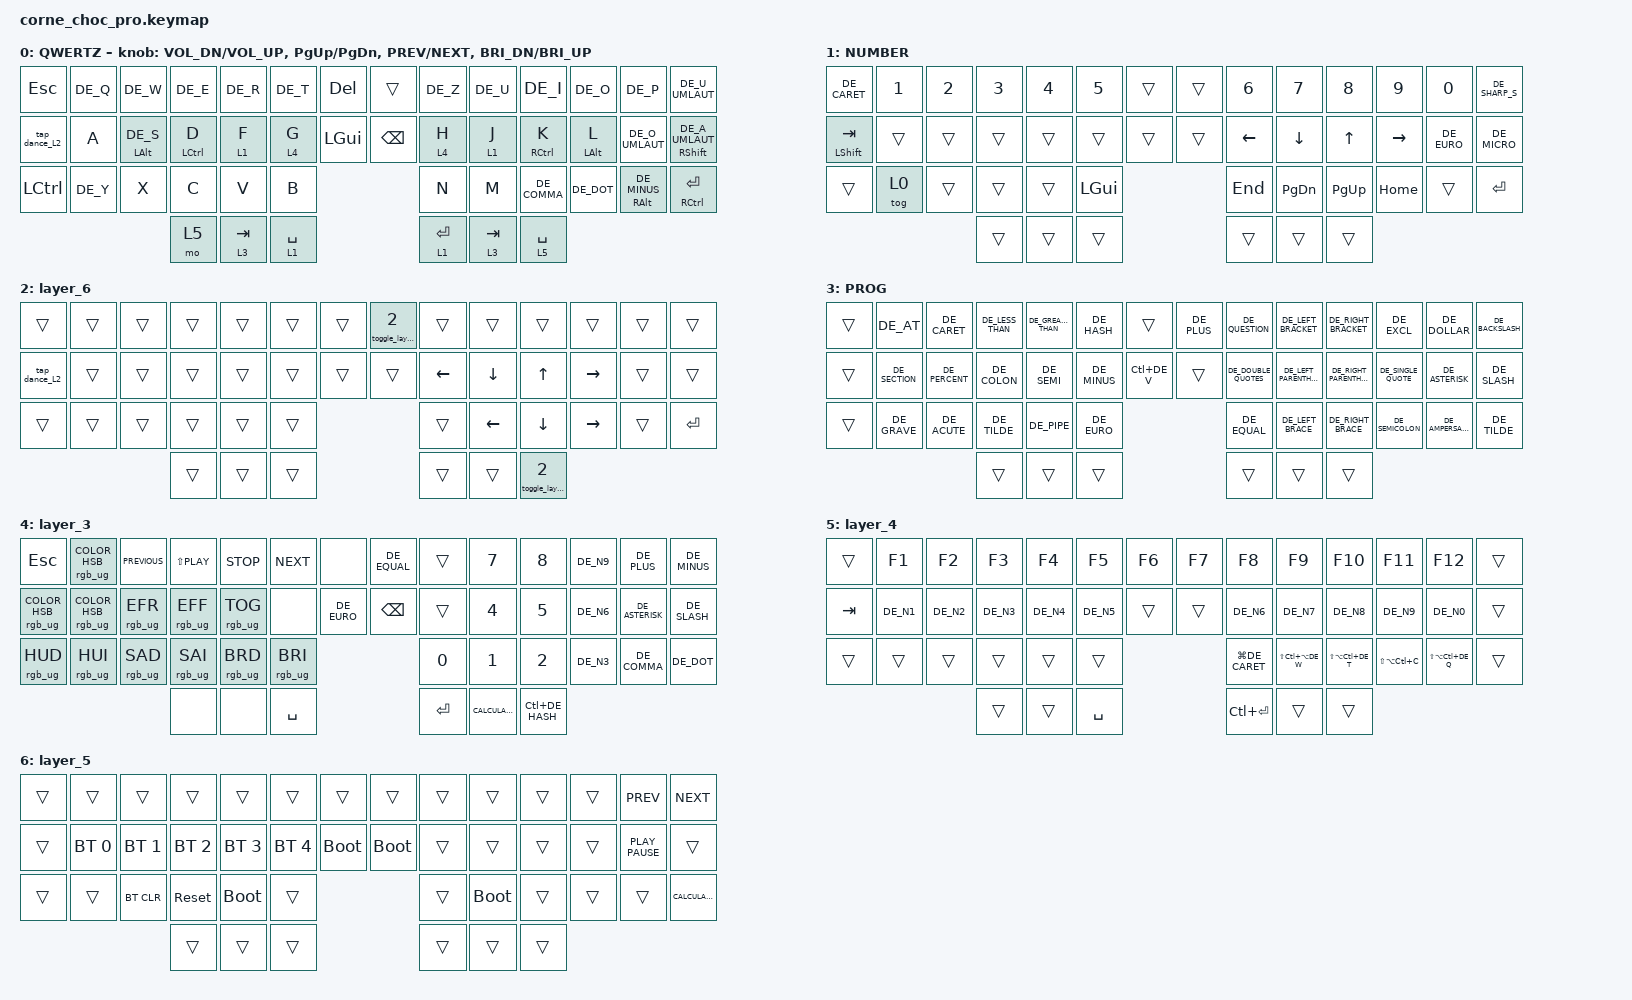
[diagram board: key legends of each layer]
/*
 * Copyright (c) 2020 The ZMK Contributors
 *
 * SPDX-License-Identifier: MIT
 */

#include "keys_de.h"
#include <behaviors.dtsi>
#include <dt-bindings/zmk/bt.h>
#include <dt-bindings/zmk/keys.h>
#include <dt-bindings/zmk/rgb.h>

/ {
    chosen { zmk,physical-layout = &default_layout; };
};

/ {
    behaviors {
        HRL: HRL {
            compatible = "zmk,behavior-hold-tap";
            label = "HRL";
            bindings = <&kp>, <&kp>;

            #binding-cells = <2>;
            tapping-term-ms = <170>;
            quick-tap-ms = <150>;
            flavor = "tap-preferred";
            hold-trigger-on-release;
        };

        HRR: HRR {
            compatible = "zmk,behavior-hold-tap";
            label = "HRR";
            bindings = <&kp>, <&kp>;

            #binding-cells = <2>;
            tapping-term-ms = <170>;
            quick-tap-ms = <150>;
            flavor = "tap-preferred";
            hold-trigger-on-release;
        };

        layerSwTap: layerSwTap {
            compatible = "zmk,behavior-hold-tap";
            label = "LAYERSWTAP";
            bindings = <&mo>, <&kp>;

            #binding-cells = <2>;
            tapping-term-ms = <170>;
            flavor = "balanced";
            quick-tap-ms = <150>;
            hold-trigger-on-release;
        };

        HRR_new: HRR_new {
            compatible = "zmk,behavior-hold-tap";
            label = "HRR_NEW";
            bindings = <&kp>, <&kp>;

            #binding-cells = <2>;
            tapping-term-ms = <170>;
            quick-tap-ms = <150>;
            flavor = "hold-preferred";
            hold-trigger-on-release;
        };

        layerSwTap_old: layerSwTap_old {
            compatible = "zmk,behavior-hold-tap";
            label = "LAYERSWTAP_OLD";
            bindings = <&mo>, <&kp>;

            #binding-cells = <2>;
            tapping-term-ms = <210>;
            flavor = "tap-preferred";
            quick-tap-ms = <175>;
            hold-trigger-on-release;
        };

        toggle_layer_test: toggle_layer_test {
            compatible = "zmk,behavior-toggle-layer";
            label = "TOGGLE_LAYER_TEST";
            #binding-cells = <1>;
        };

        tap_dance_L2: tap_dance_L2 {
            compatible = "zmk,behavior-tap-dance";
            label = "TAP_DANCE_L2";
            #binding-cells = <0>;
            bindings = <&kp LEFT_SHIFT>, <&toggle_layer_test 2>;

            tapping-term-ms = <200>;
        };
    };

    combos {
        compatible = "zmk,combos";

        layer5_left {
            bindings = <&mo 6>;
            key-positions = <40 41 42>;
        };

        layer5_right {
            bindings = <&mo 6>;
            key-positions = <44 45 43>;
        };

        layer6_left {
            bindings = <&mo 2>;
            key-positions = <40 41>;
        };

        layer6_right {
            bindings = <&mo 2>;
            key-positions = <44 45>;
        };
    };

    keymap {
        compatible = "zmk,keymap";

        default_layer {
            display-name = "QWERTZ";

            // --------------------------------------------------------------------------------
            // |  TAB |  Q  |  W  |  E  |  R  |  T  |  MUTE |  PP   |  Y  |  U   |  I  |  O  |  P  | BSPC |
            // | CTRL |  A  |  S  |  D  |  F  |  G  |  LALT |  RALT |  H  |  J   |  K  |  L  |  ;  |  '   |
            // | SHFT |  Z  |  X  |  C  |  V  |  B  |               |  N  |  M   |  ,  |  .  |  /  | ESC  |
            //                    | GUI | LWR | SPC |               | ENT | RSE  | ALT |

            bindings = <
&kp ESCAPE        &kp DE_Q  &kp DE_W        &kp DE_E      &kp DE_R           &kp DE_T             &kp DELETE  &trans         &kp DE_Z              &kp DE_U           &kp DE_I             &kp DE_O         &kp DE_P                 &kp DE_U_UMLAUT
&tap_dance_L2     &kp A     &HRL LALT DE_S  &HRL LCTRL D  &lt 1 F            &lt 4 G              &kp LGUI    &kp BACKSPACE  &lt 4 H               &lt 1 J            &HRR RCTRL K         &HRR LEFT_ALT L  &kp DE_O_UMLAUT          &HRR_new RIGHT_SHIFT DE_A_UMLAUT
&kp LEFT_CONTROL  &kp DE_Y  &kp X           &kp C         &kp V              &kp B                                           &kp N                 &kp M              &kp DE_COMMA         &kp DE_DOT       &HRR RIGHT_ALT DE_MINUS  &HRR RCTRL RETURN
                                            &mo 5         &layerSwTap 3 TAB  &layerSwTap 1 SPACE                             &layerSwTap 1 RETURN  &layerSwTap 3 TAB  &layerSwTap 5 SPACE
            >;

            sensor-bindings = <&inc_dec_kp C_VOL_DN C_VOL_UP &inc_dec_kp PG_UP PG_DN &inc_dec_kp C_PREV C_NEXT &inc_dec_kp C_BRI_DN C_BRI_UP>;
        };

        lower_layer {
            display-name = "NUMBER";

            // -----------------------------------------------------------------------------------------
            // |  TAB |  1  |  2  |  3  |  4  |  5    |  LCTRL | RCTRL |  6  |  7  |  8  |  9  |  0  | BSPC |
            // | CTRL | BT1 | BT2 | BT3 | BT4 | BT5   |  LALT  | RALT  | LFT | DWN |  UP | RGT |  €  |      |
            // | SHFT | BTCR| RGB | RST | BOOT| Unlock|        |       |     |     |     |     |     |   |  |
            //                    | GUI |     | SPC   |        | ENT   |     | ALT |

            bindings = <
&kp DE_CARET        &kp N1  &kp N2  &kp N3  &kp N4  &kp N5        &trans  &trans  &kp N6    &kp N7         &kp N8     &kp N9     &kp N0       &kp DE_SHARP_S
&mt LEFT_SHIFT TAB  &trans  &trans  &trans  &trans  &trans        &trans  &trans  &kp LEFT  &kp DOWN       &kp UP     &kp RIGHT  &kp DE_EURO  &kp DE_MICRO
&trans              &tog 0  &trans  &trans  &trans  &kp LEFT_GUI                  &kp END   &kp PAGE_DOWN  &kp PG_UP  &kp HOME   &trans       &kp RET
                                    &trans  &trans  &trans                        &trans    &trans         &trans
            >;
        };

        layer_6 {
            bindings = <
&trans         &trans  &trans  &trans  &trans  &trans  &trans  &toggle_layer_test 2  &trans          &trans          &trans                &trans           &trans  &trans
&tap_dance_L2  &trans  &trans  &trans  &trans  &trans  &trans  &trans                &kp LEFT_ARROW  &kp DOWN_ARROW  &kp UP                &kp RIGHT        &trans  &trans
&trans         &trans  &trans  &trans  &trans  &trans                                &trans          &kp LEFT_ARROW  &kp DOWN_ARROW        &kp RIGHT_ARROW  &trans  &kp ENTER
                               &trans  &trans  &trans                                &trans          &trans          &toggle_layer_test 2
            >;
        };

        programming {
            display-name = "PROG";
            bindings = <
&trans  &kp DE_AT       &kp DE_CARET    &kp DE_LESS_THAN  &kp DE_GREATER_THAN  &kp DE_HASH   &trans        &kp DE_PLUS  &kp DE_QUESTION       &kp DE_LEFT_BRACKET      &kp DE_RIGHT_BRACKET      &kp DE_EXCL          &kp DE_DOLLAR     &kp DE_BACKSLASH
&trans  &kp DE_SECTION  &kp DE_PERCENT  &kp DE_COLON      &kp DE_SEMI          &kp DE_MINUS  &kp LC(DE_V)  &trans       &kp DE_DOUBLE_QUOTES  &kp DE_LEFT_PARENTHESIS  &kp DE_RIGHT_PARENTHESIS  &kp DE_SINGLE_QUOTE  &kp DE_ASTERISK   &kp DE_SLASH
&trans  &kp DE_GRAVE    &kp DE_ACUTE    &kp DE_TILDE      &kp DE_PIPE          &kp DE_EURO                              &kp DE_EQUAL          &kp DE_LEFT_BRACE        &kp DE_RIGHT_BRACE        &kp DE_SEMICOLON     &kp DE_AMPERSAND  &kp DE_TILDE
                                        &trans            &trans               &trans                                   &trans                &trans                   &trans
            >;

            label = "prog";
        };

        layer_3 {
            bindings = <
&kp ESCAPE                       &rgb_ug RGB_COLOR_HSB(291,92,44)   &kp K_PREVIOUS   &kp LS(C_PLAY)   &kp K_STOP       &kp K_NEXT       &none        &kp DE_EQUAL   &trans        &kp NUMBER_7      &kp NUMBER_8     &kp DE_N9  &kp DE_PLUS      &kp DE_MINUS
&rgb_ug RGB_COLOR_HSB(0,100,46)  &rgb_ug RGB_COLOR_HSB(124,100,50)  &rgb_ug RGB_EFR  &rgb_ug RGB_EFF  &rgb_ug RGB_TOG  &none            &kp DE_EURO  &kp BACKSPACE  &trans        &kp NUMBER_4      &kp NUMBER_5     &kp DE_N6  &kp DE_ASTERISK  &kp DE_SLASH
&rgb_ug RGB_HUD                  &rgb_ug RGB_HUI                    &rgb_ug RGB_SAD  &rgb_ug RGB_SAI  &rgb_ug RGB_BRD  &rgb_ug RGB_BRI                              &kp NUMBER_0  &kp NUMBER_1      &kp NUMBER_2     &kp DE_N3  &kp DE_COMMA     &kp DE_DOT
                                                                                     &none            &none            &kp SPACE                                    &kp RET       &kp K_CALCULATOR  &kp LC(DE_HASH)
            >;
        };

        layer_4 {
            bindings = <
&trans   &kp F1     &kp F2     &kp F3     &kp F4     &kp F5     &kp F6  &kp F7  &kp F8            &kp F9                &kp F10               &kp F11            &kp F12               &trans
&kp TAB  &kp DE_N1  &kp DE_N2  &kp DE_N3  &kp DE_N4  &kp DE_N5  &trans  &trans  &kp DE_N6         &kp DE_N7             &kp DE_N8             &kp DE_N9          &kp DE_N0             &trans
&trans   &trans     &trans     &trans     &trans     &trans                     &kp LG(DE_CARET)  &kp LS(LC(LA(DE_W)))  &kp LS(LA(LC(DE_T)))  &kp LS(LA(LC(C)))  &kp LS(LA(LC(DE_Q)))  &trans
                               &trans     &trans     &kp SPACE                  &kp LC(ENTER)     &trans                &trans
            >;
        };

        layer_5 {
            bindings = <
&trans  &trans        &trans        &trans        &trans        &trans        &trans       &trans       &trans  &trans       &trans  &trans  &kp K_PREV        &kp K_NEXT
&trans  &bt BT_SEL 0  &bt BT_SEL 1  &bt BT_SEL 2  &bt BT_SEL 3  &bt BT_SEL 4  &bootloader  &bootloader  &trans  &trans       &trans  &trans  &kp K_PLAY_PAUSE  &trans
&trans  &trans        &bt BT_CLR    &sys_reset    &bootloader   &trans                                  &trans  &bootloader  &trans  &trans  &trans            &kp K_CALCULATOR
                                    &trans        &trans        &trans                                  &trans  &trans       &trans
            >;
        };
    };
};
